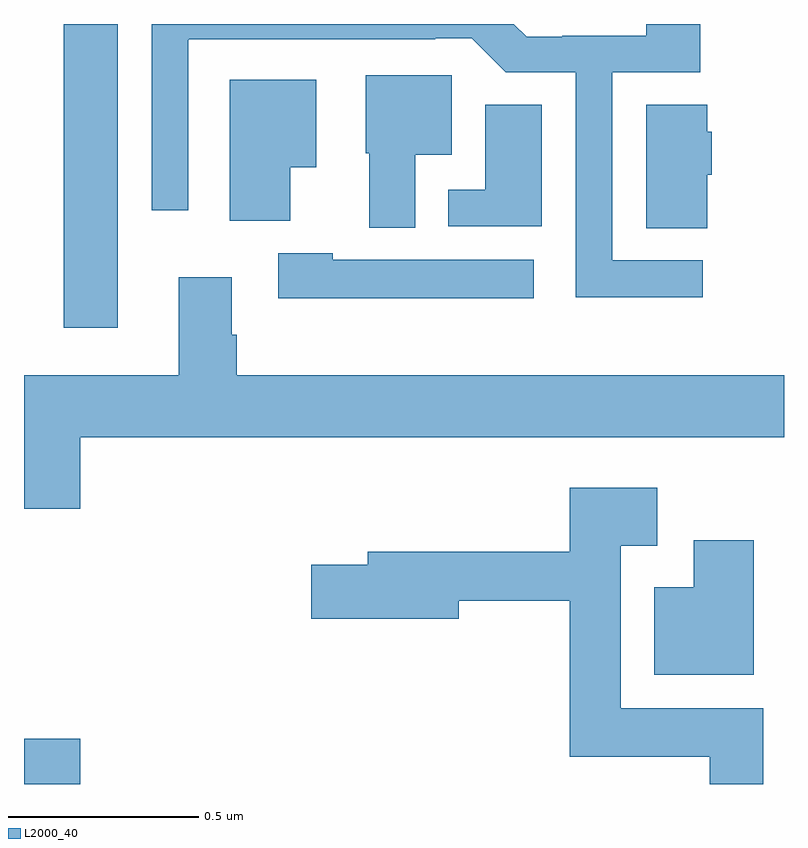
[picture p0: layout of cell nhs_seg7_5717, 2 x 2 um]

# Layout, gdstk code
import gdstk
lib = gdstk.Library(unit=1e-6, precision=1e-09)
def R(c, l, rs):  # rectangles x0, y0, x1, y1
    for r in rs: c.add(gdstk.rectangle(r[:2], r[2:], *l))
def P(c, l, *ps):  # polygons
    for p in ps: c.add(gdstk.Polygon(p, *l))
L2000_40 = (2000, 40)

nhs_seg7_5717 = lib.new_cell('nhs_seg7_5717')
R(nhs_seg7_5717, L2000_40, [(189,1037,189.148,1037.119), (189.104,1038.201,189.247,1039)])
P(nhs_seg7_5717, L2000_40, [(190.786,1038.378),(190.548,1038.378),(190.548,1038.873),(190.78,1038.873),(190.78,1039),(190.637,1039),(190.637,1038.969),(190.417,1038.969),(190.417,1038.966),(190.323,1038.966),(190.289,1039),(189.336,1039),(189.336,1038.51),(189.432,1038.51),(189.432,1038.959),(189.433,1038.959),(189.433,1038.96),(190.082,1038.96),(190.082,1038.963),(190.178,1038.963),(190.268,1038.873),(190.452,1038.873),(190.452,1038.281),(190.786,1038.281)],
  [(190.03,1038.656),(190.126,1038.656),(190.126,1038.865),(189.899,1038.865),(189.899,1038.66),(189.908,1038.66),(189.908,1038.464),(190.03,1038.464)],
  [(189.7,1038.623),(189.769,1038.623),(189.769,1038.853),(189.542,1038.853),(189.542,1038.482),(189.7,1038.482)],
  [(190.363,1038.788),(190.214,1038.788),(190.214,1038.564),(190.116,1038.564),(190.116,1038.468),(190.363,1038.468)],
  [(190.798,1038.603),(190.81,1038.603),(190.81,1038.717),(190.798,1038.717),(190.798,1038.788),(190.637,1038.788),(190.637,1038.463),(190.798,1038.463)],
  [(190.342,1038.379),(189.813,1038.379),(189.813,1038.397),(189.669,1038.397),(189.669,1038.278),(190.342,1038.278)],
  [(189.148,1037.912),(191,1037.912),(191,1038.076),(189.56,1038.076),(189.56,1038.182),(189.547,1038.182),(189.547,1038.334),(189.407,1038.334),(189.407,1038.076),(189,1038.076),(189,1037.724),(189.148,1037.724)],
  [(190.945,1037.2),(190.57,1037.2),(190.57,1037.627),(190.666,1037.627),(190.666,1037.779),(190.436,1037.779),(190.436,1037.611),(189.905,1037.611),(189.905,1037.577),(189.756,1037.577),(189.756,1037.435),(190.144,1037.435),(190.144,1037.482),(190.436,1037.482),(190.436,1037.072),(190.805,1037.072),(190.805,1037),(190.945,1037)],
  [(190.921,1037.641),(190.763,1037.641),(190.763,1037.518),(190.658,1037.518),(190.658,1037.288),(190.921,1037.288)])

lib.write_gds('nhs_seg7_5717.gds')
